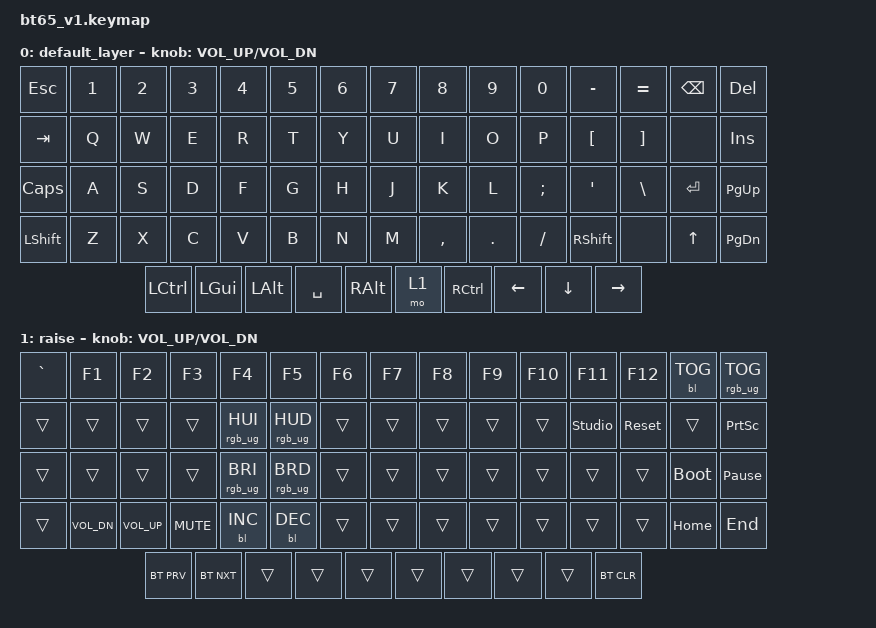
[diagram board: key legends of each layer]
#include <behaviors.dtsi>
#include <dt-bindings/zmk/keys.h>
#include <dt-bindings/zmk/bt.h>
#include <dt-bindings/zmk/rgb.h>
#include <dt-bindings/zmk/backlight.h>

#define ANSI
//#define ISO
//#define ALL_1U
//#define TEST

/ {
  chosen {
  #ifdef ANSI
    zmk,physical-layout = &layout_65_ansi;
  #elif defined(ISO)
    zmk,physical-layout = &layout_65_iso;
  #elif defined(ALL_1U)
    zmk,physical-layout = &layout_65_all1u;
  #elif defined(HHKB)
    zmk,physical-layout = &layout_65_hhkb;
  #else
  #error "Layout not defined, please define a layout by uncommenting the appropriate line in bt65_v1.keymap"
  #endif
  };

  keymap {
    compatible = "zmk,keymap";
    #ifdef ANSI
    default_layer {
        // ------------------------------------------------------------------------------------------------
        // | ESC |  1  |  2  |  3  |  4  |  5  |  6  |  7  |  8  |  9  |  0  |  -  |  =  |   BSPC   | DEL |
        // | TAB   |  Q  |  W  |  E  |  R  |  T  |  Y  |  U  |  I  |  O  |  P  |  [  |  ]  |   \    | INS |
        // | CAPS   |  A  |  S  |  D  |  F  |  G  |  H  |  J  |  K  |  L  |  ;  |  '  |    ENTER    | PGUP|
        // |  SHIFT   |  Z  |  X  |  C  |  V  |  B  |  N  |  M  |  ,  |  .  |  /  |   SHIFT   | UP  | PGDN|
        // |  CTL  |  WIN  |  ALT  |             SPACE                | ALT |  1  |RCTRL| LEFT| DOWN|RIGHT|
        // ------------------------------------------------------------------------------------------------
        // | ESC |  1  |  2  |  3  |  4  |  5  |  6  |  7  |  8  |  9  |  0  |  -  |  =  |   BSPC   | DEL |
        // | TAB   |  Q  |  W  |  E  |  R  |  T  |  Y  |  U  |  I  |  O  |  P  |  [  |  ]  |   none   | INS |
        // | CAPS   |  A  |  S  |  D  |  F  |  G  |  H  |  J  |  K  |  L  |  ;  |  '  |  \  |    ENTER    | PGUP|
        // |  SHIFT   |  Z  |  X  |  C  |  V  |  B  |  N  |  M  |  ,  |  .  |  /  |   SHIFT   | none | UP  | PGDN|
        // |  CTL  |  WIN  |  ALT  |             SPACE                | ALT |  1  |RCTRL| LEFT| DOWN|RIGHT|
        // ------------------------------------------------------------------------------------------------
      bindings = <

        &kp ESC &kp N1 &kp N2 &kp N3 &kp N4 &kp N5 &kp N6 &kp N7 &kp  N8   &kp  N9   &kp N0 &kp MINUS &kp EQUAL &kp BSPC &kp DEL
        &kp TAB   &kp Q  &kp W  &kp E  &kp R  &kp T  &kp Y  &kp U  &kp  I    &kp  O  &kp  P   &kp LBKT &kp RBKT &none &kp INS
        &kp CLCK   &kp A  &kp S  &kp D  &kp F  &kp G  &kp H  &kp J  &kp  K    &kp  L  &kp SEMI &kp SQT     &kp BSLH     &kp RET &kp PG_UP
        &kp LSHFT     &kp Z  &kp X  &kp C  &kp V  &kp B  &kp N  &kp M  &kp COMMA &kp DOT &kp FSLH   &kp RSHFT &none  &kp UP &kp PG_DN
        &kp LCTRL &kp LGUI &kp LALT            &kp SPACE                   &kp RALT  &mo 1 &kp RCTRL &kp LEFT &kp DOWN &kp RIGHT
      >;
      sensor-bindings = <&inc_dec_kp C_VOL_UP C_VOL_DN>;
    };
    raise {
        // --------------------------------------------------------------------------------------------------
        // |GRAVE| F1  | F2  | F3  | F4  | F5  | F6  | F7  | F8  | F9  | F10 | F11 | F12 |  BL_TOG  |RGB_TOG|
        // | TAB  |  Q  |  W  |  E  | HUI | HUD |  Y  |  U  |  I  |  O  |  P  | SLCK|  ]  |  RESET   | PSCRN|
        // | CAPS  |  A  |  S  |  D  | BRI | BRD |  H  |  J  |  K  |  L  |  ;  |  '  |     BOOT      | P_BRK|
        // |  SHIFT   |VOLDN|VOLUP| MUTE|BLINC|BLDEC|  N  |  M  |  ,  |  .  |  /  |    SHIFT  | HOME |  END |
        // | BT_PRV| BT_NXT|  ALT  |            SPACE               | ALT |  1  | CTRL | LEFT | DOWN |BT_CLR|
        // --------------------------------------------------------------------------------------------------
      bindings = <
        &kp GRAVE &kp F1 &kp F2 &kp F3 &kp F4 &kp F5 &kp F6 &kp F7 &kp F8 &kp F9 &kp F10 &kp F11 &kp F12 &bl BL_TOG &rgb_ug RGB_TOG
        &trans &trans &trans &trans &rgb_ug RGB_HUI &rgb_ug RGB_HUD &trans &trans &trans &trans &trans &studio_unlock  &sys_reset &trans &kp PSCRN
        &trans    &trans &trans &trans &rgb_ug RGB_BRI &rgb_ug RGB_BRD &trans &trans &trans &trans &trans  &trans  &trans &bootloader &kp PAUSE_BREAK
        &trans &kp C_VOL_DN &kp C_VOL_UP &kp C_MUTE &bl BL_INC &bl BL_DEC &trans &trans &trans &trans &trans  &trans &trans &kp HOME &kp END
        &bt BT_PRV &bt BT_NXT  &trans              &trans                            &trans   &trans   &trans &trans &trans &bt BT_CLR
      >;
      sensor-bindings = <&inc_dec_kp C_VOL_UP C_VOL_DN>;
    };
    #elif defined(ISO)
    default_layer {
        // ------------------------------------------------------------------------------------------------
        // | ESC |  1  |  2  |  3  |  4  |  5  |  6  |  7  |  8  |  9  |  0  |  -  |  =  |   BSPC   | DEL |
        // | TAB   |  Q  |  W  |  E  |  R  |  T  |  Y  |  U  |  I  |  O  |  P  |  [  |  ]  |        | INS |
        // | CAPS   |  A  |  S  |  D  |  F  |  G  |  H  |  J  |  K  |  L  |  ;  |  '  |  #  | ENTER | PGUP|
        // |SHIFT |  \  |  Z  |  X  |  C  |  V  |  B  |  N  |  M  |  ,  |  .  |  /  |  SHIFT  | UP  | PGDN|
        // |  CTL  |  WIN  |  ALT  |             SPACE                | ALT |  1  |RCTRL| LEFT| DOWN|RIGHT|
        // ------------------------------------------------------------------------------------------------
      bindings = <

        &kp ESC &kp N1 &kp N2 &kp N3 &kp N4 &kp N5 &kp N6 &kp N7 &kp  N8   &kp  N9   &kp N0 &kp MINUS &kp EQUAL &kp BSPC &kp DEL
        &kp TAB   &kp Q  &kp W  &kp E  &kp R  &kp T  &kp Y  &kp U  &kp  I    &kp  O  &kp  P   &kp LBKT &kp RBKT          &kp INS
        &kp CLCK   &kp A  &kp S  &kp D  &kp F  &kp G  &kp H  &kp J  &kp  K    &kp  L  &kp SEMI &kp SQT &kp NON_US_BSLH &kp RET &kp PG_UP
        &kp LSHFT     &kp Z  &kp X  &kp C  &kp V  &kp B  &kp N  &kp M  &kp COMMA &kp DOT &kp FSLH   &kp RSHFT   &kp UP &kp PG_DN
        &kp LCTRL &kp LGUI &kp LALT            &kp SPACE                   &kp RALT  &mo 1 &kp RCTRL &kp LEFT &kp DOWN &kp RIGHT
      >;
      sensor-bindings = <&inc_dec_kp C_VOL_UP C_VOL_DN>;
    };
    raise {
        // --------------------------------------------------------------------------------------------------
        // |GRAVE| F1  | F2  | F3  | F4  | F5  | F6  | F7  | F8  | F9  | F10 | F11 | F12 |  BL_TOG  |RGB_TOG|
        // | TAB  |  Q  |  W  |  E  | HUI | HUD |  Y  |  U  |  I  |  O  |  P  | SLCK|  ]  |          | PSCRN|
        // | CAPS  |  A  |  S  |  D  | BRI | BRD |  H  |  J  |  K  |  L  |  ;  |  '  |RESET|   BOOT  | P_BRK|
        // |SHIFT |VOLDN|VOLUP| MUTE|BLINC|BLDEC|  B  |  N  |  M  |  ,  |  .  |  /  |  SHIFT  | HOME |  END |
        // | BT_PRV| BT_NXT|  ALT  |            SPACE               | ALT |  1  | CTRL | LEFT | DOWN |BT_CLR|
        // --------------------------------------------------------------------------------------------------
      bindings = <
        &kp GRAVE &kp F1 &kp F2 &kp F3 &kp F4 &kp F5 &kp F6 &kp F7 &kp F8 &kp F9 &kp F10 &kp F11 &kp F12 &bl BL_TOG &rgb_ug RGB_TOG
        &trans &trans &trans &trans &rgb_ug RGB_HUI &rgb_ug RGB_HUD &trans &trans &trans &trans &trans &kp SLCK &trans &kp PSCRN
        &trans   &trans &trans &trans &rgb_ug RGB_BRI &rgb_ug RGB_BRD &trans &trans &trans &trans &trans  &trans  &sys_reset  &bootloader &kp PAUSE_BREAK
        &trans &kp C_VOL_DN &kp C_VOL_UP &kp C_MUTE &bl BL_INC &bl BL_DEC &trans &trans &trans &trans &trans  &trans &kp HOME &kp END
        &bt BT_PRV &bt BT_NXT  &trans              &trans                            &trans   &trans   &trans &trans &trans  &bt BT_CLR
      >;
      sensor-bindings = <&inc_dec_kp C_VOL_UP C_VOL_DN>;
    };
    #elif defined(ALL_1U)
    default_layer {
        // -------------------------------------------------------------------------------------------------
        // | ESC |  1  |  2  |  3  |  4  |  5  |  6  |  7  |  8  |  9  |  0  |  -  |  =  |BSPC | DEL | HOME|
        // | TAB    |  Q  |  W  |  E  |  R  |  T  |  Y  |  U  |  I  |  O  |  P  |  [  |  ]  |   \    | END |
        // | CAPS    |  A  |  S  |  D  |  F  |  G  |  H  |  J  |  K  |  L  |  ;  |  '  |     ENTER   | PGUP|
        // |SHIFT|NONE |  Z  |  X  |  C  |  V  |  B  |  N  |  M  |  ,  |  .  |  /  |SHIFT|NONE |  UP | PGDN|
        // |  CTL  |  WIN  |  ALT  |              SPACE                | ALT |  1  |RCTRL| LEFT| DOWN|RIGHT|
        // -------------------------------------------------------------------------------------------------
        // | ESC |  1  |  2  |  3  |  4  |  5  |  6  |  7  |  8  |  9  |  0  |  -  |  =  |BSPC | NONE | DEL|
        // | TAB    |  Q  |  W  |  E  |  R  |  T  |  Y  |  U  |  I  |  O  |  P  |  [  |  ]  |   NONE  | END |
        // | CAPS    |  A  |  S  |  D  |  F  |  G  |  H  |  J  |  K  |  L  |  ;  |  '  |   \  |    ENTER  | PGUP|
        // |SHIFT|NONE |  Z  |  X  |  C  |  V  |  B  |  N  |  M  |  ,  |  .  |  /  | NONE | SHIFT |  UP | PGDN|
        // |  CTL  |  WIN  |  ALT  |              SPACE                | ALT |  1  |RCTRL| LEFT| DOWN|RIGHT|
        // -------------------------------------------------------------------------------------------------
      bindings = <
        &kp ESC &kp N1 &kp N2 &kp N3 &kp N4 &kp N5 &kp N6 &kp N7 &kp  N8   &kp  N9 &kp  N0  &kp MINUS &kp EQUAL &kp BSPC &none &kp DEL
        &kp TAB  &kp Q  &kp W  &kp E  &kp R  &kp T  &kp Y  &kp U  &kp  I    &kp  O  &kp  P   &kp LBKT &kp RBKT  &none &kp END
        &kp CLCK  &kp A  &kp S  &kp D  &kp F  &kp G  &kp H  &kp J  &kp  K    &kp  L  &kp SEMI &kp SQT     &kp BSLH      &kp RET &kp PG_UP
        &kp LSHFT &none  &kp Z  &kp X  &kp C  &kp V  &kp B  &kp N  &kp M  &kp COMMA &kp DOT &kp FSLH  &none  &kp RSHFT    &kp UP &kp PG_DN
        &kp LCTRL &kp LGUI &kp LALT            &kp SPACE                         &kp LALT  &mo 1 &kp RCTRL &kp LEFT &kp DOWN &kp RIGHT
      >;
      sensor-bindings = <&inc_dec_kp C_VOL_UP C_VOL_DN>;
    };
    raise {
        // --------------------------------------------------------------------------------------------------
        // |GRAVE| F1  | F2  | F3  | F4  | F5  | F6  | F7  | F8  | F9  | F10 | F11 | F12 |BL_TOG|RGB_TOG|HOME|
        // | TAB  |  Q  |  W  |  E  | HUI | HUD |  Y  |  U  |  I  |  O  |  P  | SLCK|  ]  |  RESET   | PSCRN|
        // | CAPS  |  A  |  S  |  D  | BRI | BRD |  H  |  J  |  K  |  L  |  ;  |  '  |      BOOT     | P_BRK|
        // |SHIFT| NONE|VOLDN|VOLUP| MUTE|BLINC|BLDEC|  N  |  M  |  ,  |  .  |  /  |SHIFT| NONE|  UP | INS  |
        // | BT_PRV| BT_NXT|  ALT  |            SPACE                 | ALT |  1  | CTRL| LEFT| DOWN |BT_CLR|
        // --------------------------------------------------------------------------------------------------
        // |GRAVE| F1  | F2  | F3  | F4  | F5  | F6  | F7  | F8  | F9  | F10 | F11 | F12 |BL_TOG| NONE |RGB_TOG|
        // | TAB  |  Q  |  W  |  E  | HUI | HUD |  Y  |  U  |  I  |  O  |  P  | SLCK|  RESET  |  NONE  | PSCRN|
        // | CAPS  |  A  |  S  |  D  | BRI | BRD |  H  |  J  |  K  |  L  |  ;  |  '  |  \  |      BOOT     | P_BRK|
        // |SHIFT| NONE|VOLDN|VOLUP| MUTE|BLINC|BLDEC|  N  |  M  |  ,  |  .  |  /  | NONE | SHIFT|  UP | INS  |
        // | BT_PRV| BT_NXT|  ALT  |            SPACE                 | ALT |  1  | CTRL| LEFT| DOWN |BT_CLR|
        // --------------------------------------------------------------------------------------------------
      bindings = <
        &kp GRAVE &kp F1 &kp F2 &kp F3 &kp F4 &kp F5 &kp F6 &kp F7 &kp F8 &kp F9 &kp F10 &kp F11 &kp F12 &bl BL_TOG &trans &rgb_ug RGB_TOG
        &trans &trans &trans &trans &rgb_ug RGB_HUI &rgb_ug RGB_HUD &trans &trans &trans &trans &trans &kp SLCK  &sys_reset &trans  &kp PSCRN
        &trans   &trans &trans &trans &rgb_ug RGB_BRI &rgb_ug RGB_BRD &trans &trans &trans &trans &trans  &trans &trans &bootloader &kp PAUSE_BREAK
        &trans &none &kp C_VOL_DN &kp C_VOL_UP &kp C_MUTE &bl BL_INC &bl BL_DEC &trans &trans &trans &trans &trans &trans  &trans &trans &kp INS
        &bt BT_PRV &bt BT_NXT  &trans              &trans                            &trans   &trans   &trans &trans &trans &bt BT_CLR
      >;
      sensor-bindings = <&inc_dec_kp C_VOL_UP C_VOL_DN>;
    };
    #elif defined(TEST)
    default_layer {
        // ------------------------------------------------------------------------------------------------
        // | ESC |  1  |  2  |  3  |  4  |  5  |  6  |  7  |  8  |  9  |  0  |  -  |  =  |   BSPC   | DEL |
        // | TAB   |  Q  |  W  |  E  |  R  |  T  |  Y  |  U  |  I  |  O  |  P  |  [  |  ]  |   \    | HOME|
        // | CAPS   |  A  |  S  |  D  |  F  |  G  |  H  |  J  |  K  |  L  |  ;  |  '  |    ENTER    | END |
        // |  SHIFT   |  Z  |  X  |  C  |  V  |  B  |  N  |  M  |  ,  |  .  |  /  |      SHIFT      | PGUP|
qt[]        // |  CTL  |  WIN  |  ALT  |               SPACE                   |  ALT  |   1   |  CTRL  | PGDN|10-=
        // ------------------------------------------------------------------------------------------------
      bindings = <

//Row 0
&kp A &kp B &kp C &kp D &kp E &kp F &kp G &kp H &kp I &kp J &kp K &kp L &kp M &kp N &kp O &kp P

//Row 1
&kp Q &kp R &kp S &kp T &kp U &kp V &kp W &kp X &kp Y &kp Z &kp N1 &kp N2 &kp N3 &kp N4 &kp N5 &kp N6

//Row 2
&kp N7 &kp N8 &kp N9 &kp N0 &kp F1 &kp F2 &kp F3 &kp F4 &kp F5 &kp F6 &kp F7 &kp F8 &kp F9 &kp F10 &kp F11 &kp F12

//Row 3
&kp EXCL &kp AT &kp HASH &kp DLLR &kp PRCNT &kp CARET &kp AMPS &kp STAR &kp LPAR &kp RPAR &kp MINUS &kp EQUAL &kp LBKT &kp RBKT &kp SEMI &kp SQT

//Row 4
&kp LEFT &kp DOWN &kp UP &kp RIGHT &kp HOME &kp END &kp PG_UP &kp PG_DN &kp INS &kp DEL &kp TAB &kp ESC &kp SPACE &kp BSPC &kp RET &kp CAPS
      >;
      sensor-bindings = <&inc_dec_kp C_VOL_UP C_VOL_DN>;
    };
    
    #else
    #error "Layout not defined, please define a layout by uncommenting the appropriate line in bt65_v1.keymap"
    #endif

  };
};
